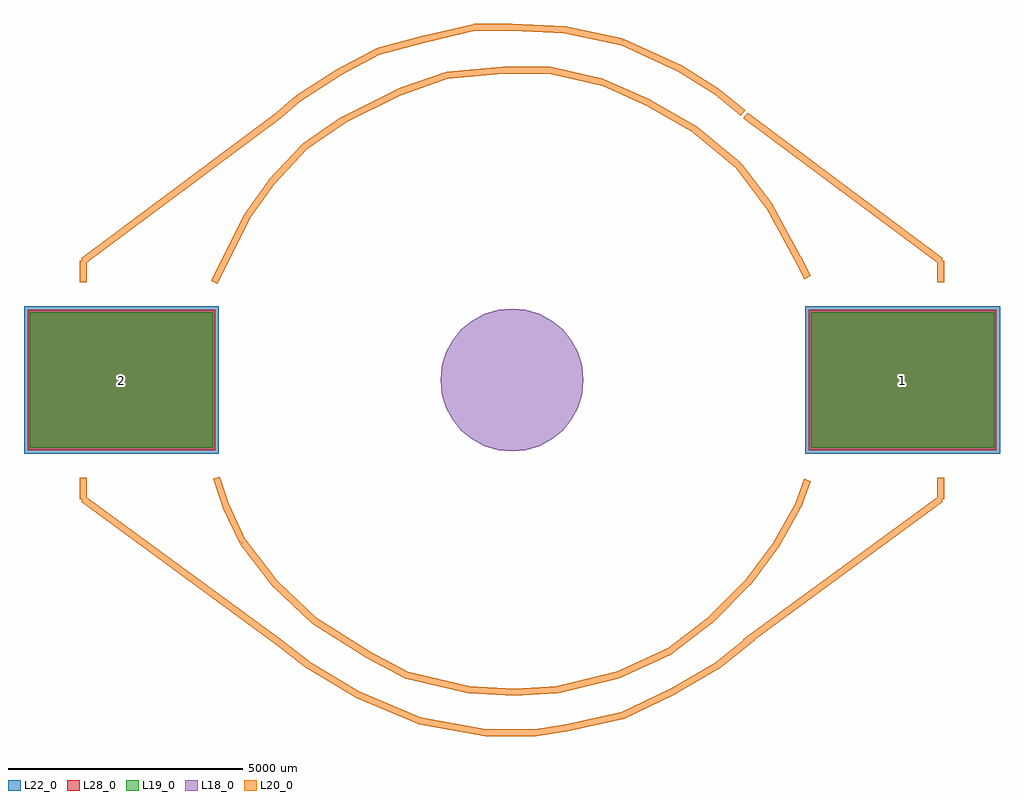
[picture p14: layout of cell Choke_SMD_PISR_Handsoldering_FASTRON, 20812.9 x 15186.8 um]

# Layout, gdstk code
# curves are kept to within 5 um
import gdstk
lib = gdstk.Library(unit=1e-6, precision=1e-09)
def R(c, l, rs):  # rectangles x0, y0, x1, y1
    for r in rs: c.add(gdstk.rectangle(r[:2], r[2:], *l))
def P(c, l, *ps):  # polygons
    for p in ps: c.add(gdstk.Polygon(p, *l))
L18_0 = (18, 0)
L19_0 = (19, 0)
L20_0 = (20, 0)
L22_0 = (22, 0)
L28_0 = (28, 0)

choke_smd_pisr_handsolde = lib.new_cell('Choke_SMD_PISR_Handsoldering_FASTRON')
P(choke_smd_pisr_handsolde, L18_0, [(254,0),(234.665,97.202),(179.605,179.605),(97.202,234.665),(0,254),(-97.202,234.665),(-179.605,179.605),(-234.665,97.202),(-254,0),(-234.665,-97.202),(-179.605,-179.605),(-97.202,-234.665),(0,-254),(97.202,-234.665),(179.605,-179.605),(234.665,-97.202)],
  [(508,0),(498.239,99.106),(469.331,194.403),(422.387,282.23),(359.21,359.21),(282.23,422.387),(194.403,469.331),(99.106,498.239),(0,508),(-99.106,498.239),(-194.403,469.331),(-282.23,422.387),(-359.21,359.21),(-422.387,282.23),(-469.331,194.403),(-498.239,99.106),(-508,0),(-498.239,-99.106),(-469.331,-194.403),(-422.387,-282.23),(-359.21,-359.21),(-282.23,-422.387),(-194.403,-469.331),(-99.106,-498.239),(0,-508),(99.106,-498.239),(194.403,-469.331),(282.23,-422.387),(359.21,-359.21),(422.387,-282.23),(469.331,-194.403),(498.239,-99.106)],
  [(762,0),(747.358,148.659),(703.996,291.605),(633.58,423.345),(538.815,538.815),(423.345,633.58),(291.605,703.996),(148.659,747.358),(0,762),(-148.659,747.358),(-291.605,703.996),(-423.345,633.58),(-538.815,538.815),(-633.58,423.345),(-703.996,291.605),(-747.358,148.659),(-762,0),(-747.358,-148.659),(-703.996,-291.605),(-633.58,-423.345),(-538.815,-538.815),(-423.345,-633.58),(-291.605,-703.996),(-148.659,-747.358),(0,-762),(148.659,-747.358),(291.605,-703.996),(423.345,-633.58),(538.815,-538.815),(633.58,-423.345),(703.996,-291.605),(747.358,-148.659)],
  [(1016,0),(996.478,198.212),(938.662,388.806),(844.773,564.459),(718.42,718.42),(564.459,844.773),(388.806,938.662),(198.212,996.478),(0,1016),(-198.212,996.478),(-388.806,938.662),(-564.459,844.773),(-718.42,718.42),(-844.773,564.459),(-938.662,388.806),(-996.478,198.212),(-1016,0),(-996.478,-198.212),(-938.662,-388.806),(-844.773,-564.459),(-718.42,-718.42),(-564.459,-844.773),(-388.806,-938.662),(-198.212,-996.478),(0,-1016),(198.212,-996.478),(388.806,-938.662),(564.459,-844.773),(718.42,-718.42),(844.773,-564.459),(938.662,-388.806),(996.478,-198.212)],
  [(1270,0),(1245.597,247.765),(1173.327,486.008),(1055.966,705.574),(898.026,898.026),(705.574,1055.966),(486.008,1173.327),(247.765,1245.597),(0,1270),(-247.765,1245.597),(-486.008,1173.327),(-705.574,1055.966),(-898.026,898.026),(-1055.966,705.574),(-1173.327,486.008),(-1245.597,247.765),(-1270,0),(-1245.597,-247.765),(-1173.327,-486.008),(-1055.966,-705.574),(-898.026,-898.026),(-705.574,-1055.966),(-486.008,-1173.327),(-247.765,-1245.597),(0,-1270),(247.765,-1245.597),(486.008,-1173.327),(705.574,-1055.966),(898.026,-898.026),(1055.966,-705.574),(1173.327,-486.008),(1245.597,-247.765)],
  [(1524,0),(1494.717,297.318),(1407.992,583.21),(1267.16,846.689),(1077.631,1077.631),(846.689,1267.16),(583.21,1407.992),(297.318,1494.717),(0,1524),(-297.318,1494.717),(-583.21,1407.992),(-846.689,1267.16),(-1077.631,1077.631),(-1267.16,846.689),(-1407.992,583.21),(-1494.717,297.318),(-1524,0),(-1494.717,-297.318),(-1407.992,-583.21),(-1267.16,-846.689),(-1077.631,-1077.631),(-846.689,-1267.16),(-583.21,-1407.992),(-297.318,-1494.717),(0,-1524),(297.318,-1494.717),(583.21,-1407.992),(846.689,-1267.16),(1077.631,-1077.631),(1267.16,-846.689),(1407.992,-583.21),(1494.717,-297.318)])
R(choke_smd_pisr_handsolde, L19_0, [(-10281.45,-1449.87,-6380.95,1449.87), (6380.95,-1449.87,10281.45,1449.87)])
R(choke_smd_pisr_handsolde, L22_0, [(-10406.45,-1574.87,-6255.95,1574.87), (6255.95,-1574.87,10406.45,1574.87)])
R(choke_smd_pisr_handsolde, L28_0, [(-10331.45,-1499.87,-6330.95,1499.87), (6330.95,-1499.87,10331.45,1499.87)])
choke_smd_pisr_handsolde.add(gdstk.FlexPath([(9144,2082.8),(9144,2540)], 149.998, ends="flush", simple_path=True, layer=20, datatype=0))  # L20_0
choke_smd_pisr_handsolde.add(gdstk.FlexPath([(-9144,2082.8),(-9144,2540)], 149.998, ends="flush", simple_path=True, layer=20, datatype=0))  # L20_0
choke_smd_pisr_handsolde.add(gdstk.FlexPath([(-9144,-2082.8),(-9144,-2540)], 149.998, ends="flush", simple_path=True, layer=20, datatype=0))  # L20_0
choke_smd_pisr_handsolde.add(gdstk.FlexPath([(9144,-2540),(4978.4,-5588)], 149.998, ends="flush", simple_path=True, layer=20, datatype=0))  # L20_0
choke_smd_pisr_handsolde.add(gdstk.FlexPath([(9144,-2082.8),(9144,-2540)], 149.998, ends="flush", simple_path=True, layer=20, datatype=0))  # L20_0
choke_smd_pisr_handsolde.add(gdstk.FlexPath([(-9144,-2540),(-4978.4,-5588)], 149.998, ends="flush", simple_path=True, layer=20, datatype=0))  # L20_0
choke_smd_pisr_handsolde.add(gdstk.FlexPath([(-9144,2540),(-4978.4,5638.8)], 149.998, ends="flush", simple_path=True, layer=20, datatype=0))  # L20_0
choke_smd_pisr_handsolde.add(gdstk.FlexPath([(9144,2540),(4978.4,5638.8)], 149.998, ends="flush", simple_path=True, layer=20, datatype=0))  # L20_0
choke_smd_pisr_handsolde.add(gdstk.FlexPath([(4368.8,6146.8),(4927.6,5689.6)], 149.998, ends="flush", simple_path=True, layer=20, datatype=0))  # L20_0
choke_smd_pisr_handsolde.add(gdstk.FlexPath([(3556,6654.8),(4368.8,6146.8)], 149.998, ends="flush", simple_path=True, layer=20, datatype=0))  # L20_0
choke_smd_pisr_handsolde.add(gdstk.FlexPath([(2336.8,7213.6),(3556,6654.8)], 149.998, ends="flush", simple_path=True, layer=20, datatype=0))  # L20_0
choke_smd_pisr_handsolde.add(gdstk.FlexPath([(1117.6,7467.6),(2336.8,7213.6)], 149.998, ends="flush", simple_path=True, layer=20, datatype=0))  # L20_0
choke_smd_pisr_handsolde.add(gdstk.FlexPath([(0,7518.4),(1117.6,7467.6)], 149.998, ends="flush", simple_path=True, layer=20, datatype=0))  # L20_0
choke_smd_pisr_handsolde.add(gdstk.FlexPath([(-812.8,7518.4),(0,7518.4)], 149.998, ends="flush", simple_path=True, layer=20, datatype=0))  # L20_0
choke_smd_pisr_handsolde.add(gdstk.FlexPath([(-1879.6,7264.4),(-812.8,7518.4)], 149.998, ends="flush", simple_path=True, layer=20, datatype=0))  # L20_0
choke_smd_pisr_handsolde.add(gdstk.FlexPath([(-2844.8,7010.4),(-1879.6,7264.4)], 149.998, ends="flush", simple_path=True, layer=20, datatype=0))  # L20_0
choke_smd_pisr_handsolde.add(gdstk.FlexPath([(-3708.4,6553.2),(-2844.8,7010.4)], 149.998, ends="flush", simple_path=True, layer=20, datatype=0))  # L20_0
choke_smd_pisr_handsolde.add(gdstk.FlexPath([(-4572,5994.4),(-3708.4,6553.2)], 149.998, ends="flush", simple_path=True, layer=20, datatype=0))  # L20_0
choke_smd_pisr_handsolde.add(gdstk.FlexPath([(-4978.4,5638.8),(-4572,5994.4)], 149.998, ends="flush", simple_path=True, layer=20, datatype=0))  # L20_0
choke_smd_pisr_handsolde.add(gdstk.FlexPath([(4368.8,-6096),(5130.8,-5486.4)], 149.998, ends="flush", simple_path=True, layer=20, datatype=0))  # L20_0
choke_smd_pisr_handsolde.add(gdstk.FlexPath([(3403.6,-6654.8),(4368.8,-6096)], 149.998, ends="flush", simple_path=True, layer=20, datatype=0))  # L20_0
choke_smd_pisr_handsolde.add(gdstk.FlexPath([(2336.8,-7162.8),(3403.6,-6654.8)], 149.998, ends="flush", simple_path=True, layer=20, datatype=0))  # L20_0
choke_smd_pisr_handsolde.add(gdstk.FlexPath([(1168.4,-7416.8),(2336.8,-7162.8)], 149.998, ends="flush", simple_path=True, layer=20, datatype=0))  # L20_0
choke_smd_pisr_handsolde.add(gdstk.FlexPath([(508,-7518.4),(1168.4,-7416.8)], 149.998, ends="flush", simple_path=True, layer=20, datatype=0))  # L20_0
choke_smd_pisr_handsolde.add(gdstk.FlexPath([(-558.8,-7518.4),(508,-7518.4)], 149.998, ends="flush", simple_path=True, layer=20, datatype=0))  # L20_0
choke_smd_pisr_handsolde.add(gdstk.FlexPath([(-1981.2,-7264.4),(-558.8,-7518.4)], 149.998, ends="flush", simple_path=True, layer=20, datatype=0))  # L20_0
choke_smd_pisr_handsolde.add(gdstk.FlexPath([(-3302,-6705.6),(-1981.2,-7264.4)], 149.998, ends="flush", simple_path=True, layer=20, datatype=0))  # L20_0
choke_smd_pisr_handsolde.add(gdstk.FlexPath([(-4318,-6096),(-3302,-6705.6)], 149.998, ends="flush", simple_path=True, layer=20, datatype=0))  # L20_0
choke_smd_pisr_handsolde.add(gdstk.FlexPath([(-4978.4,-5588),(-4318,-6096)], 149.998, ends="flush", simple_path=True, layer=20, datatype=0))  # L20_0
choke_smd_pisr_handsolde.add(gdstk.FlexPath([(6096,-2692.4),(6299.2,-2133.6)], 149.998, ends="flush", simple_path=True, layer=20, datatype=0))  # L20_0
choke_smd_pisr_handsolde.add(gdstk.FlexPath([(5638.8,-3505.2),(6096,-2692.4)], 149.998, ends="flush", simple_path=True, layer=20, datatype=0))  # L20_0
choke_smd_pisr_handsolde.add(gdstk.FlexPath([(5029.2,-4318),(5638.8,-3505.2)], 149.998, ends="flush", simple_path=True, layer=20, datatype=0))  # L20_0
choke_smd_pisr_handsolde.add(gdstk.FlexPath([(4216.4,-5130.8),(5029.2,-4318)], 149.998, ends="flush", simple_path=True, layer=20, datatype=0))  # L20_0
choke_smd_pisr_handsolde.add(gdstk.FlexPath([(3352.8,-5791.2),(4216.4,-5130.8)], 149.998, ends="flush", simple_path=True, layer=20, datatype=0))  # L20_0
choke_smd_pisr_handsolde.add(gdstk.FlexPath([(2235.2,-6299.2),(3352.8,-5791.2)], 149.998, ends="flush", simple_path=True, layer=20, datatype=0))  # L20_0
choke_smd_pisr_handsolde.add(gdstk.FlexPath([(965.2,-6604),(2235.2,-6299.2)], 149.998, ends="flush", simple_path=True, layer=20, datatype=0))  # L20_0
choke_smd_pisr_handsolde.add(gdstk.FlexPath([(50.8,-6654.8),(965.2,-6604)], 149.998, ends="flush", simple_path=True, layer=20, datatype=0))  # L20_0
choke_smd_pisr_handsolde.add(gdstk.FlexPath([(-914.4,-6604),(50.8,-6654.8)], 149.998, ends="flush", simple_path=True, layer=20, datatype=0))  # L20_0
choke_smd_pisr_handsolde.add(gdstk.FlexPath([(-2235.2,-6299.2),(-914.4,-6604)], 149.998, ends="flush", simple_path=True, layer=20, datatype=0))  # L20_0
choke_smd_pisr_handsolde.add(gdstk.FlexPath([(-3098.8,-5842),(-2235.2,-6299.2)], 149.998, ends="flush", simple_path=True, layer=20, datatype=0))  # L20_0
choke_smd_pisr_handsolde.add(gdstk.FlexPath([(-4216.4,-5130.8),(-3098.8,-5842)], 149.998, ends="flush", simple_path=True, layer=20, datatype=0))  # L20_0
choke_smd_pisr_handsolde.add(gdstk.FlexPath([(-5029.2,-4368.8),(-4216.4,-5130.8)], 149.998, ends="flush", simple_path=True, layer=20, datatype=0))  # L20_0
choke_smd_pisr_handsolde.add(gdstk.FlexPath([(-5740.4,-3454.4),(-5029.2,-4368.8)], 149.998, ends="flush", simple_path=True, layer=20, datatype=0))  # L20_0
choke_smd_pisr_handsolde.add(gdstk.FlexPath([(-6096,-2692.4),(-5740.4,-3454.4)], 149.998, ends="flush", simple_path=True, layer=20, datatype=0))  # L20_0
choke_smd_pisr_handsolde.add(gdstk.FlexPath([(-6299.2,-2082.8),(-6096,-2692.4)], 149.998, ends="flush", simple_path=True, layer=20, datatype=0))  # L20_0
choke_smd_pisr_handsolde.add(gdstk.FlexPath([(6096,2590.8),(6299.2,2184.4)], 149.998, ends="flush", simple_path=True, layer=20, datatype=0))  # L20_0
choke_smd_pisr_handsolde.add(gdstk.FlexPath([(5486.4,3708.4),(6096,2590.8)], 149.998, ends="flush", simple_path=True, layer=20, datatype=0))  # L20_0
choke_smd_pisr_handsolde.add(gdstk.FlexPath([(4826,4572),(5486.4,3708.4)], 149.998, ends="flush", simple_path=True, layer=20, datatype=0))  # L20_0
choke_smd_pisr_handsolde.add(gdstk.FlexPath([(3911.6,5334),(4826,4572)], 149.998, ends="flush", simple_path=True, layer=20, datatype=0))  # L20_0
choke_smd_pisr_handsolde.add(gdstk.FlexPath([(2946.4,5892.8),(3911.6,5334)], 149.998, ends="flush", simple_path=True, layer=20, datatype=0))  # L20_0
choke_smd_pisr_handsolde.add(gdstk.FlexPath([(1930.4,6350),(2946.4,5892.8)], 149.998, ends="flush", simple_path=True, layer=20, datatype=0))  # L20_0
choke_smd_pisr_handsolde.add(gdstk.FlexPath([(812.8,6604),(1930.4,6350)], 149.998, ends="flush", simple_path=True, layer=20, datatype=0))  # L20_0
choke_smd_pisr_handsolde.add(gdstk.FlexPath([(-203.2,6604),(812.8,6604)], 149.998, ends="flush", simple_path=True, layer=20, datatype=0))  # L20_0
choke_smd_pisr_handsolde.add(gdstk.FlexPath([(-1371.6,6502.4),(-203.2,6604)], 149.998, ends="flush", simple_path=True, layer=20, datatype=0))  # L20_0
choke_smd_pisr_handsolde.add(gdstk.FlexPath([(-2387.6,6146.8),(-1371.6,6502.4)], 149.998, ends="flush", simple_path=True, layer=20, datatype=0))  # L20_0
choke_smd_pisr_handsolde.add(gdstk.FlexPath([(-3606.8,5537.2),(-2387.6,6146.8)], 149.998, ends="flush", simple_path=True, layer=20, datatype=0))  # L20_0
choke_smd_pisr_handsolde.add(gdstk.FlexPath([(-4419.6,4978.4),(-3606.8,5537.2)], 149.998, ends="flush", simple_path=True, layer=20, datatype=0))  # L20_0
choke_smd_pisr_handsolde.add(gdstk.FlexPath([(-5130.8,4216.4),(-4419.6,4978.4)], 149.998, ends="flush", simple_path=True, layer=20, datatype=0))  # L20_0
choke_smd_pisr_handsolde.add(gdstk.FlexPath([(-5638.8,3505.2),(-5130.8,4216.4)], 149.998, ends="flush", simple_path=True, layer=20, datatype=0))  # L20_0
choke_smd_pisr_handsolde.add(gdstk.FlexPath([(-6045.2,2692.4),(-5638.8,3505.2)], 149.998, ends="flush", simple_path=True, layer=20, datatype=0))  # L20_0
choke_smd_pisr_handsolde.add(gdstk.FlexPath([(-6350,2082.8),(-6045.2,2692.4)], 149.998, ends="flush", simple_path=True, layer=20, datatype=0))  # L20_0
choke_smd_pisr_handsolde.add(gdstk.FlexPath([(0,254),(0,-254)], 380.998, ends="flush", simple_path=True, layer=18, datatype=0))  # L18_0
choke_smd_pisr_handsolde.add(gdstk.Label('1', (8331.2,0), layer=28, texttype=0))
choke_smd_pisr_handsolde.add(gdstk.Label('2', (-8331.2,0), layer=28, texttype=0))
choke_smd_pisr_handsolde.add(gdstk.Label('type', (1270,-10160), layer=9, texttype=0))
choke_smd_pisr_handsolde.add(gdstk.Label('devicename', (0,8890), layer=9, texttype=0))

lib.write_gds('Choke_SMD_PISR_Handsoldering_FASTRON.gds')
